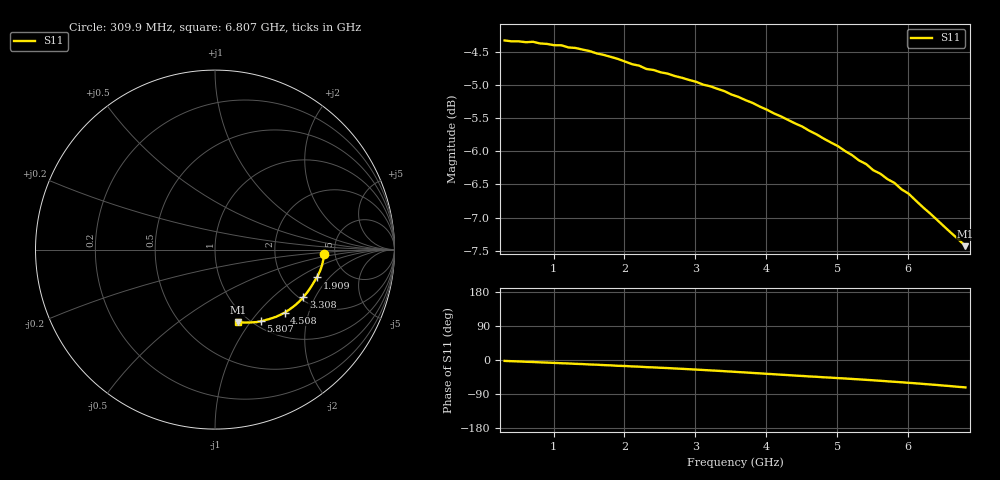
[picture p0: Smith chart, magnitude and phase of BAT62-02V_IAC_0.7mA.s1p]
! Infineon Technologies  Discrete & RF Semiconductors
! BAT62-02V
! IAC = 0.7 mA
! One-Port S-Parameters
# Hz  S  MA  R  50
!f  S11
!Hz  Mag  Ang
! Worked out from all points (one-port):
!   66 points, 309.9 MHz to 6.807 GHz, reference 50 ohm
!   lowest |S11| = -7.4 dB at 6.807 GHz (marker M1), VSWR 2.48, Z = 44.5 - j43.9 ohm
!   |S11| at or under -10 dB: nowhere
!   S11 on the Smith chart (normalised r, x): 309.9 MHz: 4.07, -0.32; 1.909 GHz: 3.10, -1.47; 3.308 GHz: 2.09, -1.62; 4.508 GHz: 1.46, -1.41; 5.807 GHz: 1.08, -1.12; 6.807 GHz: 0.89, -0.88
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3.0985e8  0.6079 -2.4
7.0965e8  0.6065 -5.3
1.10945e9  0.6028 -8.5
1.2094e9  0.6006 -9.1
1.30935e9  0.6 -10.1
1.4093e9  0.5983 -10.8
1.50925e9  0.5968 -11.8
1.6092e9  0.5943 -12.4
1.70915e9  0.5928 -13.5
1.8091e9  0.5907 -14.2
1.90905e9  0.5886 -15.3
2.009e9  0.5859 -15.8
2.10895e9  0.5833 -16.9
2.2089e9  0.5818 -17.6
2.30885e9  0.5785 -18.8
2.6087e9  0.5738 -21.3
2.8086e9  0.5697 -23.2
3.30835e9  0.5589 -28.4
3.6082e9  0.551 -31.9
4.008e9  0.5389 -36.5
4.4078e9  0.5261 -41.2
4.50775e9  0.5233 -42.1
5.0075e9  0.5059 -47.8
5.2074e9  0.498 -50.0
5.8071e9  0.4744 -57.5
6.007e9  0.4656 -60.2
6.50675e9  0.4398 -67.6
6.8066e9  0.425 -72.3
